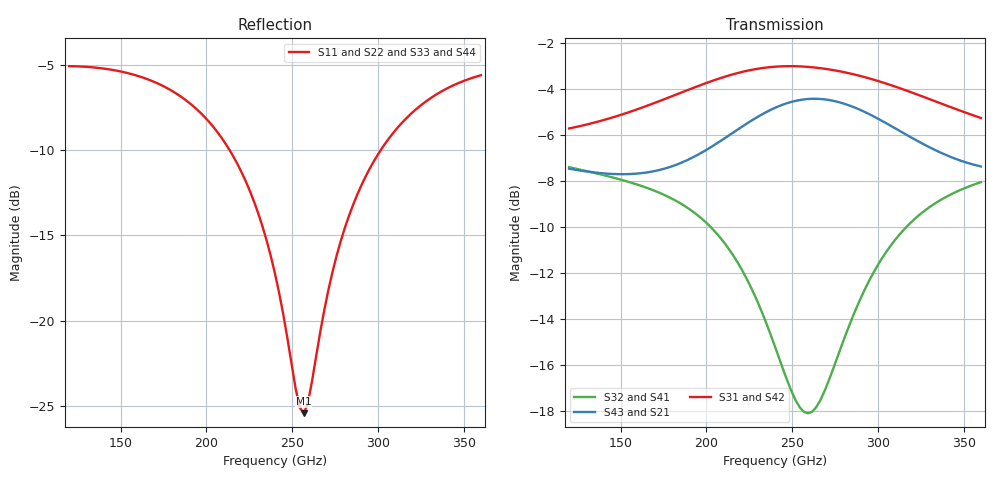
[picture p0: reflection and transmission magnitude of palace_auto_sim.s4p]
#  GHZ S DB R 50
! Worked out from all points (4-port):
!   101 points, 120 GHz to 360 GHz, reference 50 ohm
!   strongest paths, dB at 120 GHz, 180 GHz, 240 GHz, 300 GHz, 360 GHz:
!     S31: -5.7, -4.3, -3.0, -3.6, -5.2
!     S42: -5.7, -4.3, -3.0, -3.6, -5.2
!     S43: -7.5, -7.4, -4.8, -5.3, -7.4
!     S21: -7.5, -7.4, -4.8, -5.3, -7.4
!     S32: -7.4, -8.8, -15.2, -11.6, -8.0
!     S41: -7.4, -8.8, -15.2, -11.6, -8.0
!   lowest |S11| = -25.4 dB at 256.8 GHz (marker M1), VSWR 1.11, Z = 55.4 - j1.62 ohm
!   |S11| at or under -10 dB: 213.6 GHz to 301.6 GHz (88.02 GHz wide, 34.2 % of centre)
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120  -5.07 157.2  -7.46 -50.1  -5.71 -78.9  -7.40 -61.6
     -7.46 -50.1  -5.07 157.2  -7.39 -61.6  -5.71 -78.9
     -5.71 -78.9  -7.39 -61.6  -5.07 157.2  -7.46 -50.1
     -7.40 -61.6  -5.71 -78.9  -7.46 -50.1  -5.07 157.2
172.8  -6.14 131.5  -7.51 -62.3  -4.51 -115.3  -8.52 -89.2
       -7.51 -62.3  -6.14 131.6  -8.51 -89.1  -4.51 -115.3
       -4.51 -115.3  -8.51 -89.1  -6.14 131.5  -7.51 -62.2
       -8.52 -89.2  -4.51 -115.3  -7.51 -62.2  -6.14 131.5
211.2  -9.62 103.0  -6.11 -72.9  -3.44 -147.1  -10.77 -112.5
       -6.11 -72.9  -9.62 103.0  -10.76 -112.5  -3.45 -147.1
       -3.44 -147.1  -10.76 -112.5  -9.63 103.0  -6.11 -72.9
       -10.77 -112.5  -3.45 -147.1  -6.11 -72.9  -9.61 103.0
235.2  -15.32 75.7  -4.98 -85.8  -3.05 -169.6  -14.25 -121.5
       -4.98 -85.8  -15.31 75.8  -14.24 -121.6  -3.05 -169.6
       -3.05 -169.6  -14.24 -121.6  -15.34 75.7  -4.98 -85.8
       -14.25 -121.5  -3.05 -169.6  -4.98 -85.8  -15.29 75.9
256.8  -25.43 -15.9  -4.44 -101.2  -3.01 169.6  -18.03 -101.7
       -4.44 -101.2  -25.40 -15.3  -18.04 -101.9  -3.01 169.7
       -3.01 169.6  -18.04 -101.9  -25.41 -16.2  -4.44 -101.2
       -18.03 -101.7  -3.01 169.7  -4.44 -101.2  -25.48 -14.9
295.2  -11.08 -119.0  -5.10 -128.3  -3.53 134.0  -12.27 -75.8
       -5.10 -128.3  -11.09 -118.8  -12.29 -75.7  -3.53 134.1
       -3.53 134.0  -12.29 -75.7  -11.07 -118.9  -5.09 -128.3
       -12.27 -75.8  -3.53 134.1  -5.09 -128.3  -11.11 -119.0
360  -5.60 -162.3  -7.36 -153.1  -5.25 82.3  -8.04 -113.6
     -7.36 -153.1  -5.61 -162.1  -8.05 -113.4  -5.24 82.4
     -5.25 82.3  -8.05 -113.4  -5.60 -162.2  -7.36 -153.1
     -8.04 -113.6  -5.24 82.4  -7.36 -153.1  -5.62 -162.3
